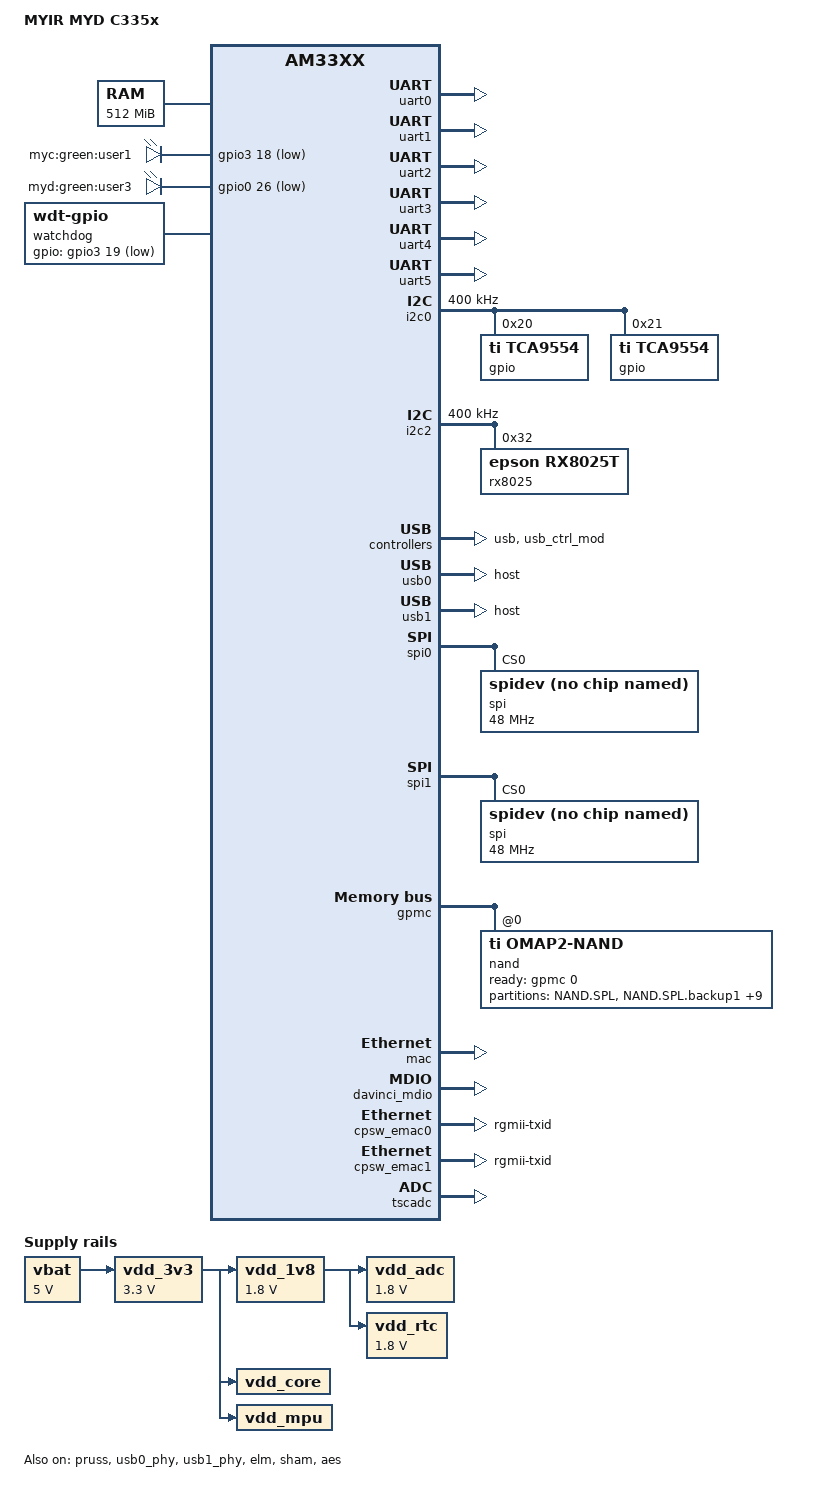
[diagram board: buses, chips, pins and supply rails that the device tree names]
/*
 * Copyright (C) 2012 Texas Instruments Incorporated - http://www.ti.com/
 *
 * This program is free software; you can redistribute it and/or modify
 * it under the terms of the GNU General Public License version 2 as
 * published by the Free Software Foundation.
 */
/dts-v1/;

#include "am33xx.dtsi"
#include <dt-bindings/interrupt-controller/irq.h>

/ {
	model = "MYIR MYD C335x";
	compatible = "ti,myd_c335x", "ti,am33xx";

	cpus {
		cpu@0 {
			cpu0-supply = <&vdd_core>;
		};
	};

	memory {
		device_type = "memory";
		reg = <0x80000000 0x20000000>; /* 512 MB */
	};

	vbat: fixedregulator@0 {
		compatible = "regulator-fixed";
		regulator-name = "vbat";
		regulator-min-microvolt = <5000000>;
		regulator-max-microvolt = <5000000>;
		regulator-boot-on;
		regulator-always-on;
	};
	
	vdd_3v3: fixedregulator@1{
		compatible = "regulator-fixed";
		regulator-name = "vdd_3v3";
		regulator-min-microvolt = <3300000>;
		regulator-max-microvolt = <3300000>;
		vin-supply = <&vbat>;
		regulator-boot-on;
		regulator-always-on;
		};
	
	vdd_1v8: fixedregulator@2{
		compatible = "regulator-fixed";
		regulator-name = "vdd_1v8";
		regulator-min-microvolt = <1800000>;
		regulator-max-microvolt = <1800000>;
		vin-supply = <&vdd_3v3>;
		regulator-boot-on;
		regulator-always-on;
		};
	
	vdd_core: fixedregulator@4{
		compatible = "regulator-fixed";
		regulator-name = "vdd_core";
		vin-supply = <&vdd_3v3>;
		regulator-boot-on;
		regulator-always-on;
		};
	
	vdd_mpu: fixedregulator@5{
		compatible = "regulator-fixed";
		regulator-name = "vdd_mpu";
		vin-supply = <&vdd_3v3>;
		regulator-boot-on;
		regulator-always-on;
		};
	
	vdd_adc: fixedregulator@6{
		compatible = "regulator-fixed";
		regulator-name = "vdd_adc";
		regulator-min-microvolt = <1800000>;
		regulator-max-microvolt = <1800000>;
		vin-supply = <&vdd_1v8>;
		regulator-boot-on;
		regulator-always-on;
		};
	
	vdd_rtc: fixedregulator@7{
		compatible = "regulator-fixed";
		regulator-name = "vdd_rtc";
		regulator-min-microvolt = <1800000>;
		regulator-max-microvolt = <1800000>;
		vin-supply = <&vdd_1v8>;
		regulator-boot-on;
		regulator-always-on;
		};


	gpio-leds {
		compatible = "gpio-leds";
		pinctrl-names = "default";
		pinctrl-0 = <&leds_pins>;

		D3 {
			label = "myc:green:user1";
			gpios = <&gpio3 18 GPIO_ACTIVE_LOW>;
			linux,default-trigger = "cpu0";
			default-state = "off";
		};

		D40 {
			label = "myd:green:user3";
			gpios = <&gpio0 26 GPIO_ACTIVE_LOW>;
			linux,default-trigger = "timer";
			default-state = "off";
		};
	};
	
        watchdog: watchdog {
            /* CAT823T */
            compatible = "linux,wdt-gpio";
            pinctrl-names = "default";
            pinctrl-0 = <&watchdog_pins>;
            gpios = <&gpio3 19 GPIO_ACTIVE_LOW>;
            hw_algo = "toggle";
            always-running;
            hw_margin_ms = <1000>;
       };
	
};

&am33xx_pinmux {
	pinctrl-names = "default", "sleep";
	pinctrl-0 = <&acpwr_down_pins_default>;
	pinctrl-1 = <&acpwr_down_pins_sleep>;
    acpwr_down_pins_default: acpwr_down_pins_default {
        pinctrl-single,pins = <
            0x3c ( PIN_INPUT | MUX_MODE7 ) /* (U13) gpmc_ad15.gpio1[15] */
        >;
    };
    
    /* Optional sleep pin settings. Must manually enter values in the below skeleton. */
    acpwr_down_pins_sleep: acpwr_down_pins_sleep {
        pinctrl-single,pins = <
            0x3c (  PIN_INPUT_PULLDOWN | MUX_MODE7 ) /* (U13) gpmc_ad15.gpio1[15] */
        >;         
    };             
   
	leds_pins: pinmux_leds_pins {
		pinctrl-single,pins = <
			0x28 ( PIN_OUTPUT_PULLUP | MUX_MODE7 ) /* (T11) gpmc_ad10.gpio0[26] */
			0x1A0 (PIN_OUTPUT_PULLDOWN | MUX_MODE7)
		>;
	};

	nandflash_pins_default: nandflash_pins_default {
		pinctrl-single,pins = <
			0x0 (PIN_INPUT_PULLUP | MUX_MODE0)	/* gpmc_ad0.gpmc_ad0 */
			0x4 (PIN_INPUT_PULLUP | MUX_MODE0)	/* gpmc_ad1.gpmc_ad1 */
			0x8 (PIN_INPUT_PULLUP | MUX_MODE0)	/* gpmc_ad2.gpmc_ad2 */
			0xc (PIN_INPUT_PULLUP | MUX_MODE0)	/* gpmc_ad3.gpmc_ad3 */
			0x10 (PIN_INPUT_PULLUP | MUX_MODE0)	/* gpmc_ad4.gpmc_ad4 */
			0x14 (PIN_INPUT_PULLUP | MUX_MODE0)	/* gpmc_ad5.gpmc_ad5 */
			0x18 (PIN_INPUT_PULLUP | MUX_MODE0)	/* gpmc_ad6.gpmc_ad6 */
			0x1c (PIN_INPUT_PULLUP | MUX_MODE0)	/* gpmc_ad7.gpmc_ad7 */
			0x70 (PIN_INPUT_PULLUP | MUX_MODE0)	/* gpmc_wait0.gpmc_wait0 */
			0x74 (PIN_INPUT_PULLUP | MUX_MODE7)	/* gpmc_wpn.gpio0_30 */
			0x7c (PIN_OUTPUT | MUX_MODE0)		/* gpmc_csn0.gpmc_csn0  */
			0x90 (PIN_OUTPUT | MUX_MODE0)		/* gpmc_advn_ale.gpmc_advn_ale */
			0x94 (PIN_OUTPUT | MUX_MODE0)		/* gpmc_oen_ren.gpmc_oen_ren */
			0x98 (PIN_OUTPUT | MUX_MODE0)		/* gpmc_wen.gpmc_wen */
			0x9c (PIN_OUTPUT | MUX_MODE0)		/* gpmc_be0n_cle.gpmc_be0n_cle */
		>;
	};

	nandflash_pins_sleep: nandflash_pins_sleep {
		pinctrl-single,pins = <
			0x0 (PIN_INPUT_PULLDOWN | MUX_MODE7)
			0x4 (PIN_INPUT_PULLDOWN | MUX_MODE7)
			0x8 (PIN_INPUT_PULLDOWN | MUX_MODE7)
			0xc (PIN_INPUT_PULLDOWN | MUX_MODE7)
			0x10 (PIN_INPUT_PULLDOWN | MUX_MODE7)
			0x14 (PIN_INPUT_PULLDOWN | MUX_MODE7)
			0x18 (PIN_INPUT_PULLDOWN | MUX_MODE7)
			0x1c (PIN_INPUT_PULLDOWN | MUX_MODE7)
			0x70 (PIN_INPUT_PULLDOWN | MUX_MODE7)
			0x74 (PIN_INPUT_PULLDOWN | MUX_MODE7)
			0x7c (PIN_INPUT_PULLDOWN | MUX_MODE7)
			0x90 (PIN_INPUT_PULLDOWN | MUX_MODE7)
			0x94 (PIN_INPUT_PULLDOWN | MUX_MODE7)
			0x98 (PIN_INPUT_PULLDOWN | MUX_MODE7)
			0x9c (PIN_INPUT_PULLDOWN | MUX_MODE7)
		>;
	};


	cpsw_default: cpsw_default {
		pinctrl-single,pins = <
			/* Slave 1 */
			0x114 (PIN_OUTPUT_PULLDOWN | MUX_MODE2)	/* mii1_txen.rgmii1_tctl */
			0x118 (PIN_INPUT_PULLDOWN | MUX_MODE2)	/* mii1_rxdv.rgmii1_rctl */
			0x11c (PIN_OUTPUT_PULLDOWN | MUX_MODE2)	/* mii1_txd3.rgmii1_td3 */
			0x120 (PIN_OUTPUT_PULLDOWN | MUX_MODE2)	/* mii1_txd2.rgmii1_td2 */
			0x124 (PIN_OUTPUT_PULLDOWN | MUX_MODE2)	/* mii1_txd1.rgmii1_td1 */
			0x128 (PIN_OUTPUT_PULLDOWN | MUX_MODE2)	/* mii1_txd0.rgmii1_td0 */
			0x12c (PIN_OUTPUT_PULLDOWN | MUX_MODE2)	/* mii1_txclk.rgmii1_tclk */
			0x130 (PIN_INPUT_PULLDOWN | MUX_MODE2)	/* mii1_rxclk.rgmii1_rclk */
			0x134 (PIN_INPUT_PULLDOWN | MUX_MODE2)	/* mii1_rxd3.rgmii1_rd3 */
			0x138 (PIN_INPUT_PULLDOWN | MUX_MODE2)	/* mii1_rxd2.rgmii1_rd2 */
			0x13c (PIN_INPUT_PULLDOWN | MUX_MODE2)	/* mii1_rxd1.rgmii1_rd1 */
			0x140 (PIN_INPUT_PULLDOWN | MUX_MODE2)	/* mii1_rxd0.rgmii1_rd0 */
		/* Slave 2 */
	 		0x40  (MUX_MODE2 | PIN_OUTPUT_PULLDOWN)  /* gpmc_a0.rgmii2_tctl */
			0x44  (MUX_MODE2 | PIN_INPUT_PULLDOWN) /* gpmc_a1.rgmii2_rctl */
			0x48  (MUX_MODE2 | PIN_OUTPUT_PULLDOWN) /* gpmc_a2.rgmii2_td3 */
			0x4c  (MUX_MODE2 | PIN_OUTPUT_PULLDOWN) /* gpmc_a3.rgmii2_td2 */
			0x50  (MUX_MODE2 | PIN_OUTPUT_PULLDOWN) /* gpmc_a4.rgmii2_td1 */
			0x54  (MUX_MODE2 | PIN_OUTPUT_PULLDOWN) /* gpmc_a5.rgmii2_td0 */
			0x58  (MUX_MODE2 | PIN_OUTPUT_PULLDOWN) /* gpmc_a6.rgmii2_tclk */
			0x5c  (MUX_MODE2 | PIN_INPUT_PULLDOWN) /* gpmc_a7.rgmii2_rclk */
			0x60  (MUX_MODE2 | PIN_INPUT_PULLDOWN) /* gpmc_a8.rgmii2_rd3 */
			0x64  (MUX_MODE2 | PIN_INPUT_PULLDOWN) /* gpmc_a9.rgmii2_rd2 */
			0x68  (MUX_MODE2 | PIN_INPUT_PULLDOWN) /* gpmc_a10.rgmii2_rd1 */
			0x6c  (MUX_MODE2 | PIN_INPUT_PULLDOWN) /* gpmc_a11.rgmii2_rd0 */
            		0x30 ( PIN_INPUT | MUX_MODE7 ) /* (T12) gpmc_ad12.gpio1[12] */  // eth1_int
            0xe4 ( PIN_OUTPUT | MUX_MODE7 ) /* (R5) lcd_hsync.gpio2[23] */ // rst AR8035 phy
		>;
	};

	cpsw_sleep: cpsw_sleep {
		pinctrl-single,pins = <
			/* Slave 1 reset value */
			0x114 (PIN_INPUT_PULLDOWN | MUX_MODE7)
			0x118 (PIN_INPUT_PULLDOWN | MUX_MODE7)
			0x11c (PIN_INPUT_PULLDOWN | MUX_MODE7)
			0x120 (PIN_INPUT_PULLDOWN | MUX_MODE7)
			0x124 (PIN_INPUT_PULLDOWN | MUX_MODE7)
			0x128 (PIN_INPUT_PULLDOWN | MUX_MODE7)
			0x12c (PIN_INPUT_PULLDOWN | MUX_MODE7)
			0x130 (PIN_INPUT_PULLDOWN | MUX_MODE7)
			0x134 (PIN_INPUT_PULLDOWN | MUX_MODE7)
			0x138 (PIN_INPUT_PULLDOWN | MUX_MODE7)
			0x13c (PIN_INPUT_PULLDOWN | MUX_MODE7)
			0x140 (PIN_INPUT_PULLDOWN | MUX_MODE7)
		/* Slave 2 reset value */
	 		0x40  (PIN_INPUT_PULLDOWN | MUX_MODE7)  /* gpmc_a0.rgmii2_tctl */
			0x44  (PIN_INPUT_PULLDOWN | MUX_MODE7) /* gpmc_a1.rgmii2_rctl */
			0x48  (PIN_INPUT_PULLDOWN | MUX_MODE7) /* gpmc_a2.rgmii2_td3 */
			0x4c  (PIN_INPUT_PULLDOWN | MUX_MODE7) /* gpmc_a3.rgmii2_td2 */
			0x50  (PIN_INPUT_PULLDOWN | MUX_MODE7) /* gpmc_a4.rgmii2_td1 */
			0x54  (PIN_INPUT_PULLDOWN | MUX_MODE7) /* gpmc_a5.rgmii2_td0 */
			0x58  (PIN_INPUT_PULLDOWN | MUX_MODE7) /* gpmc_a6.rgmii2_tclk */
			0x5c  (PIN_INPUT_PULLDOWN | MUX_MODE7) /* gpmc_a7.rgmii2_rclk */
			0x60  (PIN_INPUT_PULLDOWN | MUX_MODE7) /* gpmc_a8.rgmii2_rd3 */
			0x64  (PIN_INPUT_PULLDOWN | MUX_MODE7) /* gpmc_a9.rgmii2_rd2 */
			0x68  (PIN_INPUT_PULLDOWN | MUX_MODE7) /* gpmc_a10.rgmii2_rd1 */
			0x6c  (PIN_INPUT_PULLDOWN | MUX_MODE7) /* gpmc_a11.rgmii2_rd0 */
            		0x30 (  PIN_INPUT_PULLDOWN | MUX_MODE7 ) /* (T12) gpmc_ad12.gpio1[12] */
            0xe4 ( PIN_INPUT_PULLDOWN | MUX_MODE7 ) /* (R5) lcd_hsync.gpio2[23] */ // rst AR8035 phy
		>;
	};

	davinci_mdio_default: davinci_mdio_default {
		pinctrl-single,pins = <
			/* MDIO */
			0x148 (PIN_INPUT_PULLUP | SLEWCTRL_FAST | MUX_MODE0)	/* mdio_data.mdio_data */
			0x14c (PIN_OUTPUT_PULLUP | MUX_MODE0)			/* mdio_clk.mdio_clk */
		>;
	};

	davinci_mdio_sleep: davinci_mdio_sleep {
		pinctrl-single,pins = <
			/* MDIO reset value */
			0x148 (PIN_INPUT_PULLDOWN | MUX_MODE7)
			0x14c (PIN_INPUT_PULLDOWN | MUX_MODE7)
		>;
	};

    relayout_func_gpio2_pins_default: relayout_func_gpio2_pins_default {
        pinctrl-single,pins = <
//            0x88 ( PIN_INPUT | MUX_MODE7 ) /* (T13) gpmc_csn3.gpio2[0] */
//            0x8c ( PIN_INPUT | MUX_MODE7 ) /* (V12) gpmc_clk.gpio2[1] */
            0xa0 ( PIN_OUTPUT | MUX_MODE7 ) /* (R1) lcd_data0.gpio2[6] */
            0xa4 ( PIN_OUTPUT | MUX_MODE7 ) /* (R2) lcd_data1.gpio2[7] */
            0xa8 ( PIN_OUTPUT | MUX_MODE7 ) /* (R3) lcd_data2.gpio2[8] */
            0xac ( PIN_OUTPUT | MUX_MODE7 ) /* (R4) lcd_data3.gpio2[9] */
            0xb0 ( PIN_OUTPUT | MUX_MODE7 ) /* (T1) lcd_data4.gpio2[10] */
            0xb4 ( PIN_OUTPUT | MUX_MODE7 ) /* (T2) lcd_data5.gpio2[11] */
            0xb8 ( PIN_OUTPUT | MUX_MODE7 ) /* (T3) lcd_data6.gpio2[12] */
            0xbc ( PIN_OUTPUT | MUX_MODE7 ) /* (T4) lcd_data7.gpio2[13] */
            0xc0 ( PIN_OUTPUT | MUX_MODE7 ) /* (U1) lcd_data8.gpio2[14] */
            0xc4 ( PIN_OUTPUT | MUX_MODE7 ) /* (U2) lcd_data9.gpio2[15] */
//            0xe0 ( PIN_OUTPUT | MUX_MODE7 ) /* (U5) lcd_vsync.gpio2[22] */
//            0xe4 ( PIN_OUTPUT | MUX_MODE7 ) /* (R5) lcd_hsync.gpio2[23] */
//            0xec ( PIN_INPUT | MUX_MODE7 ) /* (R6) lcd_ac_bias_en.gpio2[25] */
        >;
    };

                
//    /* Optional sleep pin settings. Must manually enter values in the below skeleton. */
//    gpio3_pins_sleep: gpio3_pins_sleep {
//        pinctrl-single,pins = <
//            0x234 ( PIN_INPUT_PULLDOWN | MUX_MODE7 ) /* (F15) USB1_DRVVBUS.gpio3[13] */  // iic_uart_int
//            0x1a8 ( PIN_INPUT_PULLDOWN | MUX_MODE7 ) /* (D13) mcasp0_axr1.gpio3[20] */   // esam_pwr
//       >;
//    };

        watchdog_pins: pinmux_watchdog_pins{
            pinctrl-single,pins = <0x1a4 ( PIN_INPUT | MUX_MODE7 ) /* (C13) mcasp0_fsr.gpio3[19] */>;
        };
    
    uart_gpio_i2c0_pins_default: uart_gpio_i2c0_pins_default {
        pinctrl-single,pins = <
            0x18c ( PIN_INPUT | MUX_MODE0 ) /* (C16) I2C0_SCL.I2C0_SCL */
            0x188 ( PIN_INPUT | MUX_MODE0 ) /* (C17) I2C0_SDA.I2C0_SDA */
            0x234 ( PIN_INPUT| MUX_MODE7 ) /* (F15) USB1_DRVVBUS.gpio3[13] */  // iic_uart_int
            0x21c ( PIN_OUTPUT | MUX_MODE7 ) /* (F16) USB0_DRVVBUS.gpio0[18] */ //iic_uart_rst
        >;
    };
    
    /* Optional sleep pin settings. Must manually enter values in the below skeleton. */
    uart_gpio_i2c0_pins_sleep: uart_gpio_i2c0_pins_sleep {
        pinctrl-single,pins = <
            0x18c ( PIN_INPUT_PULLDOWN | MUX_MODE7 ) /* (C16) I2C0_SCL.I2C0_SCL */
            0x188 ( PIN_INPUT_PULLDOWN | MUX_MODE7 ) /* (C17) I2C0_SDA.I2C0_SDA */
            0x234 ( PIN_INPUT_PULLDOWN | MUX_MODE7 ) /* (F15) USB1_DRVVBUS.gpio3[13] */  // iic_uart_int
            0x21c ( PIN_INPUT_PULLDOWN | MUX_MODE7 ) /* (F16) USB0_DRVVBUS.gpio0[18] */ //iic_uart_rst
        >;
    };
    
    e2proom_rtc_i2c2_pins_default: e2proom_rtc_i2c2_pins_default {
        pinctrl-single,pins = <
            0x17c ( PIN_INPUT | MUX_MODE3 ) /* (D17) uart1_rtsn.I2C2_SCL */
            0x178 ( PIN_INPUT | MUX_MODE3 ) /* (D18) uart1_ctsn.I2C2_SDA */
            0xdc ( PIN_OUTPUT | MUX_MODE7 ) /* (T5) lcd_data15.gpio0[11] */ //write protection
            0xec ( PIN_INPUT | MUX_MODE7 ) /* (R6) lcd_ac_bias_en.gpio2[25] */   //8025 pps 
        >;
    };
    
    /* Optional sleep pin settings. Must manually enter values in the below skeleton. */
    e2proom_rtc_i2c2_pins_sleep: e2proom_rtc_i2c2_pins_sleep {
        pinctrl-single,pins = <
            0x17c ( PIN_INPUT_PULLDOWN | MUX_MODE7 ) /* (D17) uart1_rtsn.I2C2_SCL */
            0x178 ( PIN_INPUT_PULLDOWN | MUX_MODE7 ) /* (D18) uart1_ctsn.I2C2_SDA */
            0xdc ( PIN_INPUT_PULLDOWN | MUX_MODE7 ) /* (T5) lcd_data15.gpio0[11] */ //e2prom write protection
            0xec ( PIN_INPUT_PULLDOWN | MUX_MODE7 ) /* (R6) lcd_ac_bias_en.gpio2[25] */   //8025 pps 
        >;
    };
    
    eth1_mdio1_pins_default: eth1_mdio1_pins_default {
        pinctrl-single,pins = <
            0x14c ( PIN_OUTPUT | MUX_MODE0 ) /* (M18) mdio_clk.mdio_clk */
            0x148 ( PIN_INPUT | MUX_MODE0 ) /* (M17) mdio_data.mdio_data */
        >;
    };
    
    /* Optional sleep pin settings. Must manually enter values in the below skeleton. */
    eth1_mdio1_pins_sleep: eth1_mdio1_pins_sleep {
        pinctrl-single,pins = <
            0x14c ( PIN_INPUT_PULLDOWN | MUX_MODE7 ) /* (M18) mdio_clk.mdio_clk */
            0x148 ( PIN_INPUT_PULLDOWN | MUX_MODE7 ) /* (M17) mdio_data.mdio_data */
        >;
    };
    
    di_pruss_pins_default: di_pruss_pins_default {
        pinctrl-single,pins = <
            0x1ac ( PIN_INPUT | MUX_MODE6 ) /* (A14) mcasp0_ahclkx.pr1_pru0_pru_r30[7] */
            0xf0 ( PIN_INPUT | MUX_MODE6 ) /* (F17) mmc0_dat3.pr1_pru0_pru_r30[8] */
            0xf4 ( PIN_INPUT | MUX_MODE6 ) /* (F18) mmc0_dat2.pr1_pru0_pru_r30[9] */
            0xf8 ( PIN_INPUT | MUX_MODE6 ) /* (G15) mmc0_dat1.pr1_pru0_pru_r31[10] */
            0xfc ( PIN_INPUT | MUX_MODE6 ) /* (G16) mmc0_dat0.pr1_pru0_pru_r31[11] */
            0x100 ( PIN_INPUT | MUX_MODE6 ) /* (G17) mmc0_clk.pr1_pru0_pru_r31[12] */
            0x104 ( PIN_INPUT | MUX_MODE6 ) /* (G18) mmc0_cmd.pr1_pru0_pru_r31[13] */
            0x38 ( PIN_INPUT | MUX_MODE6 ) /* (V13) gpmc_ad14.pr1_pru0_pru_r31[14] */
            0xe0 ( PIN_OUTPUT | MUX_MODE7 ) /* (U5) lcd_vsync.gpio2[22]  high tf or low gpio*/ 
        >;
    };
    
    jiaocai_spi_pins_default: jiaocai_spi_pins_default {
        pinctrl-single,pins = <
            0x150 ( PIN_INPUT | MUX_MODE0 ) /* (A17) spi0_sclk.spi0_sclk */
            0x154 ( PIN_INPUT | MUX_MODE0 ) /* (B17) spi0_d0.spi0_d0 */
            0x158 ( PIN_INPUT | MUX_MODE0 ) /* (B16) spi0_d1.spi0_d1 */
            0x15c ( PIN_INPUT | MUX_MODE0 ) /* (A16) spi0_cs0.spi0_cs0 */
            0x88 ( PIN_INPUT | MUX_MODE7 ) /* (T13) gpmc_csn3.gpio2[0] */
        >;
    };
    
    /* Optional sleep pin settings. Must manually enter values in the below skeleton. */
    jiaocai_spi_pins_sleep: jiaocai_spi_pins_sleep {
        pinctrl-single,pins = <
            0x150 ( PIN_INPUT_PULLDOWN | MUX_MODE7 ) /* (A17) spi0_sclk.spi0_sclk */
            0x154 ( PIN_INPUT_PULLDOWN | MUX_MODE7 ) /* (B17) spi0_d0.spi0_d0 */
            0x158 ( PIN_INPUT_PULLDOWN | MUX_MODE7 ) /* (B16) spi0_d1.spi0_d1 */
            0x15c ( PIN_INPUT_PULLDOWN | MUX_MODE7 ) /* (A16) spi0_cs0.spi0_cs0 */
        >;
    };
    
    encrypt_spi1_pins_default: encrypt_spi1_pins_default {
        pinctrl-single,pins = <
            0x190 ( PIN_INPUT | MUX_MODE3 ) /* (A13) mcasp0_aclkx.spi1_sclk */
            0x194 ( PIN_INPUT | MUX_MODE3 ) /* (B13) mcasp0_fsx.spi1_d0 */
            0x198 ( PIN_INPUT | MUX_MODE3 ) /* (D12) mcasp0_axr0.spi1_d1 */
            0x19c ( PIN_INPUT | MUX_MODE3 ) /* (C12) mcasp0_ahclkr.spi1_cs0 */
            0x1a8 ( PIN_OUTPUT | MUX_MODE7 ) /* (D13) mcasp0_axr1.gpio3[20] */ //power

        >;
    };
    
    /* Optional sleep pin settings. Must manually enter values in the below skeleton. */
    encrypt_spi1_pins_sleep: encrypt_spi1_pins_sleep {
        pinctrl-single,pins = <
            0x190 ( PIN_INPUT_PULLDOWN | MUX_MODE7 ) /* (A13) mcasp0_aclkx.spi1_sclk */
            0x194 ( PIN_INPUT_PULLDOWN | MUX_MODE7 ) /* (B13) mcasp0_fsx.spi1_d0 */
            0x198 ( PIN_INPUT_PULLDOWN | MUX_MODE7 ) /* (D12) mcasp0_axr0.spi1_d1 */
            0x19c ( PIN_INPUT_PULLDOWN | MUX_MODE7 ) /* (C12) mcasp0_ahclkr.spi1_cs0 */
            0x1a8 ( PIN_INPUT_PULLDOWN | MUX_MODE7 ) /* (D13) mcasp0_axr1.gpio3[20] */ //power
        >;
    };
    
    g_uart5_pins_default: g_uart5_pins_default {
        pinctrl-single,pins = <
            0x108 ( PIN_INPUT | MUX_MODE3 ) /* (H16) gmii1_col.uart5_rxd */
            0x144 ( PIN_OUTPUT | MUX_MODE3 ) /* (H18) rmii1_refclk.uart5_txd */
            0xd0 ( PIN_OUTPUT | MUX_MODE7 ) /* (V2) lcd_data12.gpio0[8] */ //rst
            0xd4 ( PIN_OUTPUT | MUX_MODE7 ) /* (V3) lcd_data13.gpio0[9] */ //power on
            0xd8 ( PIN_OUTPUT | MUX_MODE7 ) /* (V4) lcd_data14.gpio0[10] */ //wake up
            0xc8 ( PIN_OUTPUT | MUX_MODE7 ) /* (U3) lcd_data10.gpio2[16] */ //heat
            0xcc ( PIN_OUTPUT | MUX_MODE7 ) /* (U4) lcd_data11.gpio2[17] */	//power enable 
        >;
    };
    
    /* Optional sleep pin settings. Must manually enter values in the below skeleton. */
    g_uart5_pins_sleep: g_uart5_pins_sleep {
        pinctrl-single,pins = <
            0x108 ( PIN_INPUT_PULLDOWN | MUX_MODE7 ) /* (H16) gmii1_col.uart5_rxd */
            0x144 ( PIN_INPUT_PULLDOWN | MUX_MODE7 ) /* (H18) rmii1_refclk.uart5_txd */
            0xd0 ( PIN_INPUT_PULLDOWN | MUX_MODE7 ) /* (V2) lcd_data12.gpio0[8] */
            0xd4 ( PIN_INPUT_PULLDOWN | MUX_MODE7 ) /* (V3) lcd_data13.gpio0[9] */
            0xd8 ( PIN_INPUT_PULLDOWN | MUX_MODE7 ) /* (V4) lcd_data14.gpio0[10] */
            0xc8 ( PIN_INPUT_PULLDOWN | MUX_MODE7 ) /* (U3) lcd_data10.gpio2[16] */
            0xcc ( PIN_INPUT_PULLDOWN | MUX_MODE7 ) /* (U4) lcd_data11.gpio2[17] */	  	    
        >;
    };
    
    wifi_uart4_pins_default: wifi_uart4_pins_default {
        pinctrl-single,pins = <
            0x168 ( PIN_INPUT | MUX_MODE1 ) /* (E18) uart0_ctsn.uart4_rxd */
            0x16c ( PIN_OUTPUT | MUX_MODE1 ) /* (E17) uart0_rtsn.uart4_txd */
        >;
    };
    
    /* Optional sleep pin settings. Must manually enter values in the below skeleton. */
    wifi_uart4_pins_sleep: wifi_uart4_pins_sleep {
        pinctrl-single,pins = <
            0x168 ( PIN_INPUT_PULLDOWN | MUX_MODE7 ) /* (E18) uart0_ctsn.uart4_rxd */
            0x16c ( PIN_INPUT_PULLDOWN | MUX_MODE7 ) /* (E17) uart0_rtsn.uart4_txd */
        >;
    };
    
    rf_uart1_pins_default: rf_uart1_pins_default {
        pinctrl-single,pins = <
            0x180 ( PIN_INPUT | MUX_MODE0 ) /* (D16) uart1_rxd.uart1_rxd */
            0x184 ( PIN_OUTPUT | MUX_MODE0 ) /* (D15) uart1_txd.uart1_txd */
        >;
    };
    
    /* Optional sleep pin settings. Must manually enter values in the below skeleton. */
    rf_uart1_pins_sleep: rf_uart1_pins_sleep {
        pinctrl-single,pins = <
            0x180 ( PIN_INPUT_PULLDOWN | MUX_MODE7 ) /* (D16) uart1_rxd.uart1_rxd */
            0x184 ( PIN_INPUT_PULLDOWN | MUX_MODE7 ) /* (D15) uart1_txd.uart1_txd */
        >;
    };
    
    plc_uart2_pins_default: plc_uart2_pins_default {
        pinctrl-single,pins = <
            0x10c ( PIN_INPUT | MUX_MODE6 ) /* (H17) gmii1_crs.uart2_rxd */
            0x110 ( PIN_OUTPUT | MUX_MODE6 ) /* (J15) gmii1_rxer.uart2_txd */
            0x8c ( PIN_INPUT | MUX_MODE7 ) /* (V12) gpmc_clk.gpio2[1] */  //PLC state
        >;
    };
    
    /* Optional sleep pin settings. Must manually enter values in the below skeleton. */
    plc_uart2_pins_sleep: plc_uart2_pins_sleep {
        pinctrl-single,pins = <
            0x10c ( PIN_INPUT_PULLDOWN | MUX_MODE7) /* (H17) gmii1_crs.uart2_rxd */
            0x110 ( PIN_INPUT_PULLDOWN | MUX_MODE7) /* (J15) gmii1_rxer.uart2_txd */
            0x8c ( PIN_INPUT_PULLDOWN | MUX_MODE7 ) /* (V12) gpmc_clk.gpio2[1] */
        >;
    };
    
    debug_uart0_pins_default: debug_uart0_pins_default {
        pinctrl-single,pins = <
            0x170 ( PIN_INPUT | MUX_MODE0 ) /* (E15) uart0_rxd.uart0_rxd */
            0x174 ( PIN_OUTPUT | MUX_MODE0 ) /* (E16) uart0_txd.uart0_txd */
        >;
    };
    
   
    rs232_485_uart3_pins_default: rs232_485_uart3_pins_default {
        pinctrl-single,pins = <
            0x160 ( PIN_INPUT | MUX_MODE1 ) /* (C15) spi0_cs1.uart3_rxd */
            0x164 ( PIN_OUTPUT | MUX_MODE1 ) /* (C18) eCAP0_in_PWM0_out.uart3_txd */
        >;
    };
    
    /* Optional sleep pin settings. Must manually enter values in the below skeleton. */
    rs232_485_uart3_pins_sleep: rs232_485_uart3_pins_sleep {
        pinctrl-single,pins = <
            0x160 ( PIN_INPUT_PULLDOWN | MUX_MODE7 ) /* (C15) spi0_cs1.uart3_rxd */
            0x164 ( PIN_INPUT_PULLDOWN | MUX_MODE7 ) /* (C18) eCAP0_in_PWM0_out.uart3_txd */
        >;
    };

};

&uart0 {
	pinctrl-names = "default";
	pinctrl-0 = <&debug_uart0_pins_default>;

	status = "okay";
};

&uart1 {

	pinctrl-names = "default";
	pinctrl-0 = <&rf_uart1_pins_default>;
	status = "okay";
};

&uart2 {
	pinctrl-names = "default", "sleep";
	pinctrl-0 = <&plc_uart2_pins_default>;
	pinctrl-1 = <&plc_uart2_pins_sleep>;
	status = "okay";
};

&uart3 {
	pinctrl-names = "default", "sleep";
	pinctrl-0 = <&rs232_485_uart3_pins_default>;
	pinctrl-1 = <&rs232_485_uart3_pins_sleep>;
	status = "okay";
};

&uart4 {
	pinctrl-names = "default", "sleep";
	pinctrl-0 = <&wifi_uart4_pins_default>;
	pinctrl-1 = <&wifi_uart4_pins_sleep>;
	status = "okay";
};

&uart5 {
	pinctrl-names = "default", "sleep";
	pinctrl-0 = <&g_uart5_pins_default>;
	pinctrl-1 = <&g_uart5_pins_sleep>;
	status = "okay";
};

&pruss {
	pinctrl-names = "default"; 
	pinctrl-0 = <&di_pruss_pins_default>;
	status = "okay";
};


&i2c0 {
	pinctrl-names = "default","sleep";
	pinctrl-0 = <&uart_gpio_i2c0_pins_default>;
	pinctrl-1 = <&uart_gpio_i2c0_pins_sleep>;

	status = "okay";
	clock-frequency = <400000>;

	gpio@20 {
		compatible = "ti,tca9554";
		reg = <0x20>;
		gpio-controller;
		#gpio-cells = <2>;
	};
	
	gpio@21 {
		compatible = "ti,tca9554";
		reg = <0x21>;
		gpio-controller;
		#gpio-cells = <2>;
	};
};

&i2c2 {
	pinctrl-names = "default","sleep";
	pinctrl-0 = <&e2proom_rtc_i2c2_pins_default>;
	pinctrl-1 = <&e2proom_rtc_i2c2_pins_sleep>;

	status = "okay";
	clock-frequency = <400000>;

         rx8025: rx8025@32 {
         	compatible = "epson,rx8025t";
            	reg = <0x32>;
        };
	
// TODO: add e2prom
	
};

&usb {
	status = "okay";
};

&usb_ctrl_mod {
	status = "okay";
};

&usb0_phy {
    	dr_mode = "host";
	status = "okay";
};

&usb1_phy {
    	dr_mode = "host";
	status = "okay";
};

&usb0 {
    	dr_mode = "host";
	status = "okay";
};

&usb1 {
	status = "okay";
	dr_mode = "host";
};

&cppi41dma  {
	status = "okay";
};

&spi0{
    	status = "okay";
        pinctrl-names = "default","sleep";
        pinctrl-0 = <&jiaocai_spi_pins_default>;
        pinctrl-1 = <&jiaocai_spi_pins_sleep>;
        ti,pindir-d0-in-d1-out =<1>;
        spi@0 {
                compatible = "rohm,dh2228fv";
                spi-max-frequency = <48000000>;
                reg = <0x0>;
        };
};

&spi1{

    status = "okay";
        pinctrl-names = "default","sleep";
        pinctrl-0 = <&encrypt_spi1_pins_default>;
        pinctrl-1 = <&encrypt_spi1_pins_sleep>;
        ti,pindir-d0-in-d1-out =<1>;
        spi@0 {
                compatible = "rohm,dh2228fv";
                spi-max-frequency = <48000000>;
                reg = <0x0>;
        };

};


&elm {
	status = "okay";
};


&gpmc {
	status = "okay";
	pinctrl-names = "default", "sleep";
	pinctrl-0 = <&nandflash_pins_default>;
	pinctrl-1 = <&nandflash_pins_sleep>;
	ranges = <0 0 0x08000000 0x1000000>;	/* CS0: 16MB for NAND */
	nand@0,0 {
		compatible = "ti,omap2-nand";
		reg = <0 0 4>; /* CS0, offset 0, IO size 4 */
		interrupt-parent = <&intc>;
		interrupts = <100>;
		ready-gpio = <&gpmc 0 GPIO_ACTIVE_HIGH>; /* gpmc_wait0 */
		ti,nand-ecc-opt = "bch8";
		ti,elm-id = <&elm>;
		nand-bus-width = <8>;
		gpmc,device-width = <1>;
		gpmc,sync-clk-ps = <0>;
		gpmc,cs-on-ns = <0>;
		gpmc,cs-rd-off-ns = <44>;
		gpmc,cs-wr-off-ns = <44>;
		gpmc,adv-on-ns = <6>;
		gpmc,adv-rd-off-ns = <34>;
		gpmc,adv-wr-off-ns = <44>;
		gpmc,we-on-ns = <0>;
		gpmc,we-off-ns = <40>;
		gpmc,oe-on-ns = <0>;
		gpmc,oe-off-ns = <54>;
		gpmc,access-ns = <64>;
		gpmc,rd-cycle-ns = <82>;
		gpmc,wr-cycle-ns = <82>;
		gpmc,bus-turnaround-ns = <0>;
		gpmc,cycle2cycle-delay-ns = <0>;
		gpmc,clk-activation-ns = <0>;
		gpmc,wr-access-ns = <40>;
		gpmc,wr-data-mux-bus-ns = <0>;
		/* MTD partition table */
		/* All SPL-* partitions are sized to minimal length
		 * which can be independently programmable. For
		 * NAND flash this is equal to size of erase-block */
		#address-cells = <1>;
		#size-cells = <1>;
		partition@0 {
			label = "NAND.SPL";
			reg = <0x00000000 0x000020000>;
		};
		partition@1 {
			label = "NAND.SPL.backup1";
			reg = <0x00020000 0x00020000>;
		};
		partition@2 {
			label = "NAND.SPL.backup2";
			reg = <0x00040000 0x00020000>;
		};
		partition@3 {
			label = "NAND.SPL.backup3";
			reg = <0x00060000 0x00020000>;
		};
		partition@4 {
			label = "NAND.u-boot-spl-os";
			reg = <0x00080000 0x00040000>;
		};
		partition@5 {
			label = "NAND.u-boot";
			reg = <0x000C0000 0x00100000>;
		};
		partition@6 {
			label = "NAND.u-boot-env";
			reg = <0x001C0000 0x00020000>;
		};
		partition@7 {
			label = "NAND.u-boot-env.backup1";
			reg = <0x001E0000 0x00020000>;
		};
		partition@8 {
			label = "NAND.kernel";
			reg = <0x00200000 0x00800000>;
		};
		partition@9 {
			label = "NAND.rootfs";
			reg = <0x00A00000 0x07600000>;
		};
		partition@10 {
			label = "NAND.userdata";
			reg = <0x08000000 0x08000000>;
		};		
	};
};


&mac {
	slaves = <2>;
	pinctrl-names = "default", "sleep";
	pinctrl-0 = <&cpsw_default>;
	pinctrl-1 = <&cpsw_sleep>;
	dual_emac = <1>;
//	active_slave = <1>;
	status = "okay";
};

&davinci_mdio {
	pinctrl-names = "default", "sleep";
	pinctrl-0 = <&davinci_mdio_default>;
	pinctrl-1 = <&davinci_mdio_sleep>;
	status = "okay";
};

&cpsw_emac0 {
	phy_id = <&davinci_mdio>, <4>;
	phy-mode = "rgmii-txid";
//	dual_emac_res_vlan=<0>;
};

&cpsw_emac1 {
	phy_id = <&davinci_mdio>, <6>;
	phy-mode = "rgmii-txid";
//	dual_emac_res_vlan=<1>;
};

&tscadc {
	status = "okay";
	adc {
		ti,adc-channels = <0 1 2 3 4 5>;
	};
};

&sham {
	status = "okay";
};

&aes {
	status = "okay";
};


&wkup_m3_ipc {
	ti,scale-data-fw = "am335x-evm-scale-data.bin";
};

//&rtc {
//	system-power-controller;
//};

&sgx {
	status = "disabled";
};
